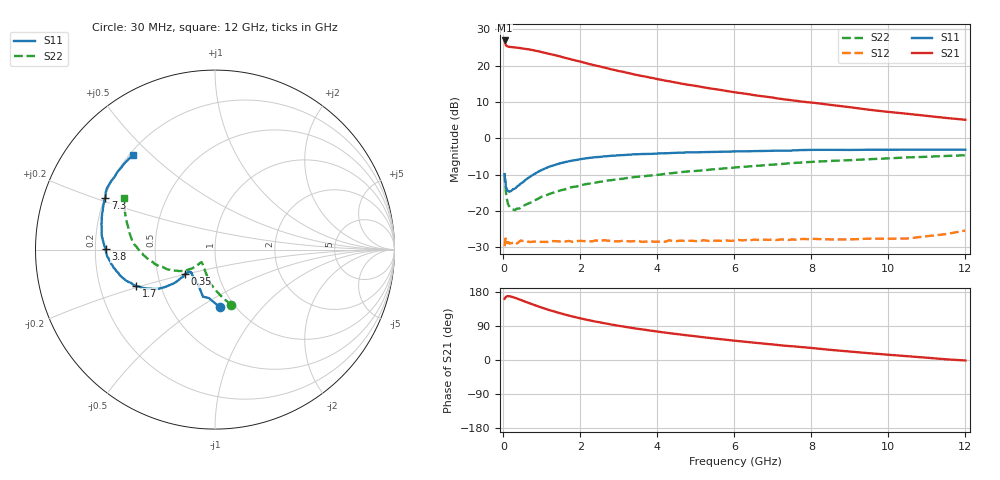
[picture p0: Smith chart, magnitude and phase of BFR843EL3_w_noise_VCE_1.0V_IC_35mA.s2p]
! Infineon Technologies  Discrete & RF Semiconductors
! BFR843EL3
! VCE =  1.0 V,  IC =  35 mA
! Common Emitter S-Parameters:  Aug 2013
# GHz  S  MA  R  50
!  f  S11  S21  S12  S22
! GHz  MAG  ANG  MAG  ANG  MAG  ANG  MAG  ANG
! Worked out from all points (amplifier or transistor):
!   103 points, 30 MHz to 12 GHz, reference 50 ohm
!   highest |S21| = 27.0 dB at 30 MHz (marker M1)
!   |S21| within 3 dB of that: start of sweep to 911.7 MHz
!   unconditionally stable (mu >= 1): 81.21 MHz to 990.4 MHz; 2.706 GHz to end of sweep
!   at 400 MHz: K = 1.04, MAG = 25.5 dB, |S12| = -28.6 dB
!   at 3.7 GHz: K = 1.14, MAG = 20.4 dB, |S12| = -28.5 dB
!   at 12 GHz: K = 1.99, MAG = 9.6 dB, |S12| = -25.4 dB
!   lowest NFmin = 1.43 dB at 450 MHz
!   S11 on the Smith chart (normalised r, x): 30 MHz: 0.85, -0.61; 350 MHz: 0.69, -0.20; 1.7 GHz: 0.36, -0.19; 3.8 GHz: 0.24, +0.00; 7.3 GHz: 0.20, +0.21; 12 GHz: 0.22, +0.44
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0.03  0.321 -85.3  22.3 161.6  0.0326 24.4  0.3229 -73.7
0.04  0.2722 -97.2  20.83 163.0  0.035 20.7  0.2595 -82.8
0.06  0.2158 -115.9  19.34 165.9  0.0416 12.4  0.1914 -97.7
0.1  0.1937 -128.8  18.53 168.3  0.0371 7.0  0.1381 -111.8
0.15  0.1836 -135.5  18.22 168.4  0.0355 7.5  0.116 -123.7
0.2  0.188 -139.5  18.08 167.3  0.0358 5.7  0.1071 -129.8
0.35  0.2159 -141.1  17.73 162.4  0.0354 2.7  0.1077 -136.3
0.7  0.2975 -140.7  16.65 148.9  0.0372 3.4  0.1295 -138.9
1  0.3668 -144.3  15.38 138.1  0.0374 4.8  0.1573 -140.2
1.3  0.4226 -149.1  14.14 128.6  0.0383 5.1  0.1782 -142.4
1.7  0.4824 -155.1  12.48 117.2  0.0385 5.6  0.2073 -145.4
2.1  0.5258 -161.0  11.03 107.6  0.0383 4.2  0.231 -148.9
2.4  0.5501 -165.1  10.03 101.2  0.0392 5.5  0.2454 -151.4
2.8  0.5739 -169.9  8.921 93.6  0.0387 6.8  0.2648 -154.1
3.8  0.6094 179.8  6.882 77.8  0.0386 9.1  0.3063 -161.2
4.1  0.6186 177.4  6.4 73.6  0.0376 9.1  0.3175 -162.6
5.1  0.6424 169.4  5.156 61.2  0.0385 12.2  0.3585 -169.4
6.1  0.6602 162.4  4.239 50.0  0.0398 15.3  0.4 -175.6
7.3  0.6764 154.8  3.431 37.8  0.0402 16.6  0.4459 176.9
8.5  0.6932 146.9  2.885 26.7  0.0403 19.9  0.4876 168.5
10.5  0.6965 136.6  2.174 10.0  0.0416 29.9  0.5448 157.2
12  0.6955 130.9  1.799 -1.3  0.0536 37.6  0.5837 150.2
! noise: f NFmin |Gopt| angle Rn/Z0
0.45  1.43  0.2  177  0.13
0.9  1.45  0.21  174  0.12
1.5  1.45  0.23  173  0.11
1.9  1.44  0.23  174  0.11
2.4  1.46  0.25  178  0.11
3.5  1.46  0.26  182  0.11
5.5  1.47  0.33  195  0.09
8  1.49  0.43  210  0.09
10  1.5  0.51  227  0.11
